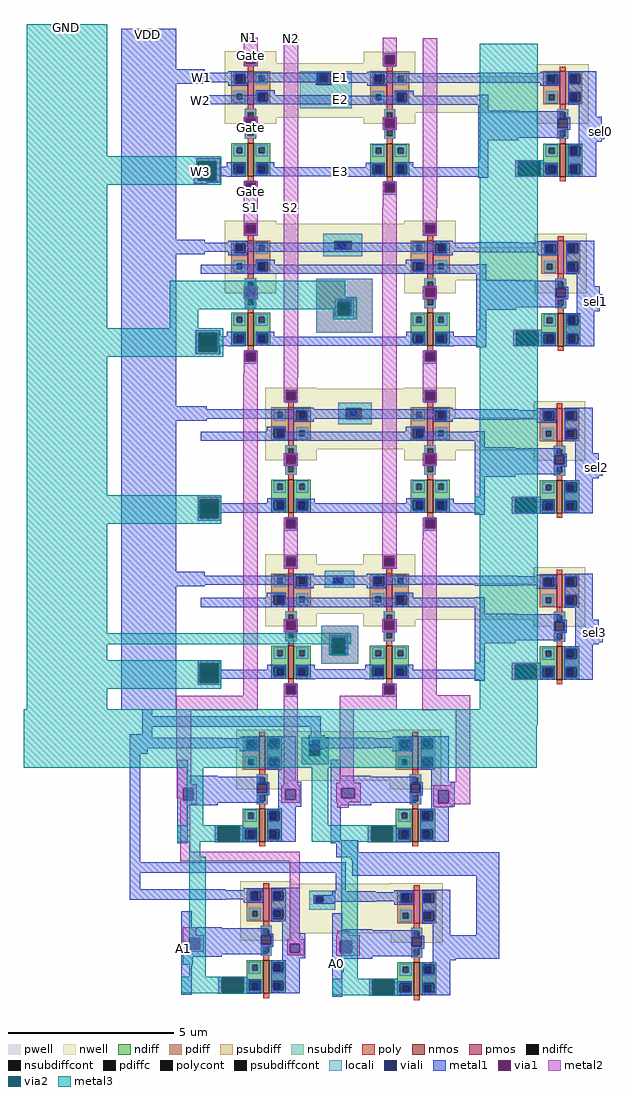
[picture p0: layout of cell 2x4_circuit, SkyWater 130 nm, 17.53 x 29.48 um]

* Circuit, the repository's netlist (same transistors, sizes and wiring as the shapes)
* SPICE3 file created from 2x4_circuit.ext - technology: sky130A

.subckt x1 E1 E2 E3 W3 N1 N2 w_106_301# SUB
X0 E1 N1 E2 w_106_301# sky130_fd_pr__pfet_01v8 ad=0p pd=0u as=0p ps=0u w=1e+06u l=180000u
X1 W3 N1 E3 SUB sky130_fd_pr__nfet_01v8 ad=0p pd=0u as=0p ps=0u w=1e+06u l=180000u
.ends

.subckt inv_customized VDD IN GND OUT SUB w_n16_301#
X0 OUT IN VDD w_n16_301# sky130_fd_pr__pfet_01v8 ad=0p pd=0u as=0p ps=0u w=1e+06u l=180000u
X1 OUT IN GND SUB sky130_fd_pr__nfet_01v8 ad=0p pd=0u as=0p ps=0u w=1e+06u l=180000u
.ends

.subckt x0_unit W1 W2 W3 E3 N2 N1 SUB w_n16_301#
X0 W2 N1 W1 w_n16_301# sky130_fd_pr__pfet_01v8 ad=0p pd=0u as=0p ps=0u w=1e+06u l=180000u
X1 E3 N1 W3 SUB sky130_fd_pr__nfet_01v8 ad=0p pd=0u as=0p ps=0u w=1e+06u l=180000u
.ends

*.subckt x2x4_circuit Gate
X1_0 W1 1_0/W3 1_0/E3 1_0/W3 1_1/N1 1_1/N2 W1 W3 x1
X1_1 W1 1_2/E2 1_2/W3 1_2/E2 1_1/N1 1_1/N2 W1 W3 x1
X1_2 W1 1_2/E2 W3 1_2/W3 S2 Gate W1 W3 x1
X1_3 W1 1_3/E2 W3 1_3/W3 S2 Gate W1 W3 x1
Xinv_customized_0 W1 W2 W3 sel0 W3 W1 inv_customized
X0_unit_0 W1 W2 E3 W2 1_1/N1 1_1/N2 W3 W1 x0_unit
Xinv_customized_1 W1 1_0/W3 W3 sel1 W3 W1 inv_customized
X0_unit_1 W1 1_0/W3 W3 1_0/E3 S2 Gate W3 W1 x0_unit
Xinv_customized_2 W1 1_2/E2 W3 sel2 W3 W1 inv_customized
Xinv_customized_3 W1 1_3/E2 W3 sel3 W3 W1 inv_customized
X0_unit_2 W1 1_3/E2 1_3/W3 1_3/E2 1_1/N1 1_1/N2 W3 W1 x0_unit
Xinv_customized_4 W1 1_1/N2 W3 1_1/N1 W3 W1 inv_customized
Xinv_customized_5 W1 Gate W3 S2 W3 W1 inv_customized
Xinv_customized_6 W1 A1 W3 Gate W3 W1 inv_customized
Xinv_customized_7 W1 A0 W3 1_1/N2 W3 W1 inv_customized
X0 W2 Gate W1 W1 sky130_fd_pr__pfet_01v8 ad=0p pd=0u as=0p ps=0u w=1e+06u l=180000u
X1 E3 Gate W3 W3 sky130_fd_pr__nfet_01v8 ad=0p pd=0u as=0p ps=0u w=1e+06u l=180000u
*C0 1_1/N2 W3 -3.24fF
*C1 S2 W3 -2.37fF
*C2 Gate W3 -4.38fF
*C3 W1 W3 -16.74fF
*C4 1_1/N1 W3 -2.77fF
*.ends

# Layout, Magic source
magic
tech sky130A
<< nwell >>
rect -16 483 140 519
rect -16 333 525 483
rect 552 334 942 444
rect -16 319 416 333
rect -16 301 140 319
rect 123 -152 537 -2
rect 671 -172 941 -73
rect 257 -532 586 -499
rect 245 -682 659 -532
rect 665 -686 935 -587
rect 137 -1087 551 -1030
rect 137 -1180 937 -1087
rect 547 -1197 937 -1180
rect 130 -1684 544 -1534
rect 146 -2145 560 -1995
<< pwell >>
rect 261 -331 431 -167
rect 275 -1330 387 -1216
<< nmos >>
rect 53 142 71 242
<< pmos >>
rect 53 360 71 460
<< ndiff >>
rect 3 229 53 242
rect 3 211 20 229
rect 37 211 53 229
rect 3 173 53 211
rect 3 155 20 173
rect 37 155 53 173
rect 3 142 53 155
rect 71 229 121 242
rect 71 211 87 229
rect 104 211 121 229
rect 71 173 121 211
rect 71 155 87 173
rect 104 155 121 173
rect 71 142 121 155
<< pdiff >>
rect 3 447 53 460
rect 3 429 20 447
rect 37 429 53 447
rect 3 391 53 429
rect 3 373 20 391
rect 37 373 53 391
rect 3 360 53 373
rect 71 447 121 460
rect 71 429 87 447
rect 104 429 121 447
rect 71 391 121 429
rect 71 373 87 391
rect 104 373 121 391
rect 71 360 121 373
<< ndiffc >>
rect 20 211 37 229
rect 20 155 37 173
rect 87 211 104 229
rect 87 155 104 173
<< pdiffc >>
rect 20 429 37 447
rect 20 373 37 391
rect 87 429 104 447
rect 87 373 104 391
<< psubdiff >>
rect 261 -233 431 -167
rect 261 -274 325 -233
rect 366 -274 431 -233
rect 261 -331 431 -274
rect 275 -1248 387 -1216
rect 275 -1305 306 -1248
rect 351 -1305 387 -1248
rect 275 -1330 387 -1305
<< nsubdiff >>
rect 211 455 367 459
rect 211 419 262 455
rect 305 419 367 455
rect 211 347 367 419
rect 281 -54 399 -32
rect 281 -80 315 -54
rect 367 -80 399 -54
rect 281 -99 399 -80
rect 326 -558 428 -542
rect 326 -592 349 -558
rect 397 -592 428 -558
rect 326 -607 428 -592
rect 286 -1070 375 -1050
rect 286 -1087 311 -1070
rect 342 -1087 375 -1070
rect 286 -1101 375 -1087
rect 217 -1573 298 -1552
rect 217 -1608 239 -1573
rect 273 -1608 298 -1573
rect 217 -1634 298 -1608
rect 239 -2034 317 -2016
rect 239 -2051 259 -2034
rect 282 -2051 317 -2034
rect 239 -2074 317 -2051
<< psubdiffcont >>
rect 325 -274 366 -233
rect 306 -1305 351 -1248
<< nsubdiffcont >>
rect 262 419 305 455
rect 315 -80 367 -54
rect 349 -592 397 -558
rect 311 -1087 342 -1070
rect 239 -1608 273 -1573
rect 259 -2051 282 -2034
<< poly >>
rect 45 502 79 510
rect 45 484 53 502
rect 71 484 79 502
rect 45 474 79 484
rect 53 460 71 474
rect 53 346 71 360
rect 45 336 79 346
rect 45 318 53 336
rect 71 318 79 336
rect 45 282 79 318
rect 45 264 53 282
rect 71 264 79 282
rect 45 256 79 264
rect 53 242 71 256
rect 53 128 71 142
rect 45 120 79 128
rect 45 102 53 120
rect 71 102 79 120
rect 45 94 79 102
<< polycont >>
rect 53 484 71 502
rect 53 318 71 336
rect 53 264 71 282
rect 53 102 71 120
<< locali >>
rect 45 509 79 510
rect 45 482 47 509
rect 77 482 79 509
rect 45 474 79 482
rect 10 450 46 456
rect 10 423 15 450
rect 10 420 46 423
rect 78 447 114 456
rect 78 429 87 447
rect 104 429 114 447
rect 78 420 114 429
rect 211 455 367 459
rect 211 419 262 455
rect 305 419 367 455
rect 10 391 46 400
rect 10 373 20 391
rect 37 373 46 391
rect 10 364 46 373
rect 78 395 114 400
rect 78 368 83 395
rect 78 364 114 368
rect 211 347 367 419
rect 45 336 79 346
rect 45 318 53 336
rect 71 318 79 336
rect 45 317 79 318
rect 45 290 47 317
rect 77 290 79 317
rect 45 282 79 290
rect 45 264 53 282
rect 71 264 79 282
rect 45 256 79 264
rect 10 229 46 238
rect 10 211 20 229
rect 37 211 46 229
rect 10 202 46 211
rect 78 229 114 238
rect 78 211 87 229
rect 104 211 114 229
rect 78 202 114 211
rect 10 178 46 182
rect 10 151 11 178
rect 42 151 46 178
rect 10 146 46 151
rect 78 178 114 182
rect 78 151 83 178
rect 78 146 114 151
rect 45 122 79 128
rect 45 95 47 122
rect 77 95 79 122
rect 45 94 79 95
rect 281 -54 399 -32
rect 281 -80 315 -54
rect 367 -80 399 -54
rect 281 -99 399 -80
rect 261 -233 431 -167
rect 261 -274 325 -233
rect 366 -274 431 -233
rect 261 -331 431 -274
rect 326 -558 428 -542
rect 326 -592 349 -558
rect 397 -592 428 -558
rect 326 -607 428 -592
rect 286 -1070 375 -1050
rect 286 -1087 311 -1070
rect 342 -1087 375 -1070
rect 286 -1101 375 -1087
rect 275 -1248 387 -1216
rect 275 -1305 306 -1248
rect 351 -1305 387 -1248
rect 275 -1330 387 -1305
rect 217 -1562 298 -1552
rect 217 -1573 248 -1562
rect 270 -1573 298 -1562
rect 217 -1608 239 -1573
rect 273 -1608 298 -1573
rect 217 -1634 298 -1608
rect 239 -2034 317 -2016
rect 239 -2051 259 -2034
rect 282 -2051 317 -2034
rect 239 -2074 317 -2051
<< viali >>
rect 47 502 77 509
rect 47 484 53 502
rect 53 484 71 502
rect 71 484 77 502
rect 47 482 77 484
rect 15 447 46 450
rect 15 429 20 447
rect 20 429 37 447
rect 37 429 46 447
rect 15 423 46 429
rect 269 428 294 449
rect 83 391 114 395
rect 83 373 87 391
rect 87 373 104 391
rect 104 373 114 391
rect 83 368 114 373
rect 47 290 77 317
rect 11 173 42 178
rect 11 155 20 173
rect 20 155 37 173
rect 37 155 42 173
rect 11 151 42 155
rect 83 173 114 178
rect 83 155 87 173
rect 87 155 104 173
rect 104 155 114 173
rect 83 151 114 155
rect 47 120 77 122
rect 47 102 53 120
rect 53 102 71 120
rect 71 102 77 120
rect 47 95 77 102
rect 323 -78 351 -61
rect 333 -266 354 -245
rect 361 -583 383 -566
rect 311 -1087 342 -1070
rect 318 -1286 336 -1266
rect 248 -1573 270 -1562
rect 248 -1581 270 -1573
rect 259 -2051 282 -2034
<< metal1 >>
rect -328 465 -163 587
rect 41 509 84 514
rect 41 482 47 509
rect 77 482 84 509
rect 41 475 84 482
rect -328 454 -77 465
rect -6 454 51 459
rect -328 450 334 454
rect -328 426 15 450
rect -328 422 -77 426
rect -6 423 15 426
rect 46 449 334 450
rect 46 428 269 449
rect 294 428 334 449
rect 46 426 334 428
rect 46 423 51 426
rect -328 -50 -163 422
rect -6 416 51 423
rect 259 419 306 426
rect 78 395 135 402
rect 78 387 83 395
rect -89 368 83 387
rect 114 387 135 395
rect 114 368 335 387
rect -89 359 335 368
rect 41 317 84 322
rect 41 290 47 317
rect 77 290 84 317
rect 41 283 84 290
rect 1111 254 1130 298
rect -102 188 -30 195
rect -102 164 -98 188
rect -109 130 -98 164
rect -41 171 -30 188
rect -10 178 47 184
rect -10 171 11 178
rect -41 151 11 171
rect 42 151 47 178
rect -41 142 47 151
rect 77 178 134 185
rect 77 151 83 178
rect 114 170 134 178
rect 114 151 334 170
rect 77 142 334 151
rect -41 130 -30 142
rect -10 141 47 142
rect -109 123 -30 130
rect -109 119 -69 123
rect 41 122 84 127
rect 41 95 47 122
rect 77 95 84 122
rect 41 88 84 95
rect -328 -93 -77 -50
rect -328 -553 -163 -93
rect 325 -239 366 -233
rect 325 -271 326 -239
rect 362 -271 366 -239
rect 1096 -253 1126 -214
rect 325 -274 366 -271
rect -102 -330 -30 -323
rect -102 -388 -95 -330
rect -38 -388 -30 -330
rect -102 -395 -30 -388
rect -328 -596 -70 -553
rect -328 -1053 -163 -596
rect 1096 -762 1126 -723
rect -98 -833 -26 -826
rect -98 -891 -91 -833
rect -34 -891 -26 -833
rect -98 -898 -26 -891
rect -328 -1096 -77 -1053
rect -328 -1469 -163 -1096
rect 300 -1262 357 -1244
rect 300 -1293 312 -1262
rect 346 -1293 357 -1262
rect 1096 -1265 1126 -1226
rect 300 -1305 357 -1293
rect -98 -1329 -26 -1322
rect -98 -1387 -91 -1329
rect -34 -1387 -26 -1329
rect -98 -1394 -26 -1387
rect -266 -1489 -235 -1469
rect -266 -1520 274 -1489
rect -266 -1544 -235 -1520
rect -303 -1554 -235 -1544
rect 243 -1547 274 -1520
rect 237 -1554 286 -1547
rect -303 -1585 -116 -1554
rect 237 -1562 357 -1554
rect 237 -1581 248 -1562
rect 270 -1581 357 -1562
rect 237 -1585 357 -1581
rect -303 -1602 -248 -1585
rect 237 -1588 286 -1585
rect -303 -1930 -272 -1602
rect 321 -1900 387 -1863
rect 321 -1915 813 -1900
rect 366 -1922 813 -1915
rect -303 -1961 350 -1930
rect -303 -2012 -272 -1961
rect -303 -2043 -113 -2012
rect 253 -2034 314 -2029
rect 253 -2051 259 -2034
rect 282 -2051 314 -2034
rect 319 -2048 350 -1961
rect 369 -1970 813 -1922
rect 253 -2056 314 -2051
rect 743 -2151 813 -1970
rect -142 -2180 -131 -2175
rect -149 -2189 -131 -2180
rect -149 -2199 -135 -2189
rect -143 -2239 -113 -2200
rect 612 -2221 813 -2151
rect 314 -2261 344 -2222
<< via1 >>
rect 47 482 77 509
rect 47 290 77 317
rect -98 130 -41 188
rect 47 95 77 122
rect 326 -245 362 -239
rect 326 -266 333 -245
rect 333 -266 354 -245
rect 354 -266 362 -245
rect 326 -271 362 -266
rect -95 -388 -38 -330
rect -91 -891 -34 -833
rect 312 -1266 346 -1262
rect 312 -1286 318 -1266
rect 318 -1286 336 -1266
rect 336 -1286 346 -1266
rect 312 -1293 346 -1286
rect -91 -1387 -34 -1329
rect -142 -1743 -111 -1707
rect 166 -1741 198 -1710
rect 336 -1736 376 -1706
rect 629 -1751 660 -1712
rect -123 -2192 -91 -2160
rect 181 -2204 210 -2176
rect 332 -2203 367 -2167
<< metal2 >>
rect 41 509 84 561
rect 41 482 47 509
rect 77 482 84 509
rect 41 475 84 482
rect 41 317 84 322
rect 41 290 47 317
rect 77 290 84 317
rect 41 283 84 290
rect -102 188 -30 198
rect -102 164 -98 188
rect -109 130 -98 164
rect -41 130 -30 188
rect -109 126 -30 130
rect -109 119 -69 126
rect 41 122 84 127
rect 41 95 47 122
rect 77 95 84 122
rect 41 48 84 95
rect 162 47 206 560
rect 316 -239 373 -228
rect 316 -276 325 -239
rect 362 -276 373 -239
rect 316 -281 373 -276
rect -105 -330 -33 -323
rect -105 -388 -95 -330
rect -38 -388 -33 -330
rect -105 -395 -33 -388
rect -98 -833 -26 -826
rect -98 -891 -91 -833
rect -34 -891 -26 -833
rect -98 -898 -26 -891
rect 300 -1254 357 -1244
rect 300 -1300 310 -1254
rect 346 -1300 357 -1254
rect 300 -1305 357 -1300
rect -98 -1329 -26 -1322
rect -98 -1387 -91 -1329
rect -34 -1387 -26 -1329
rect -98 -1394 -26 -1387
rect -162 -1471 84 -1427
rect -162 -1627 -118 -1471
rect -161 -1694 -118 -1627
rect -161 -1707 -100 -1694
rect 162 -1699 205 -1427
rect 331 -1470 503 -1427
rect 581 -1470 725 -1426
rect 331 -1690 374 -1470
rect 681 -1689 725 -1470
rect -161 -1736 -142 -1707
rect -150 -1743 -142 -1736
rect -111 -1743 -100 -1707
rect -150 -1750 -100 -1743
rect 154 -1710 210 -1699
rect 154 -1741 166 -1710
rect 198 -1741 210 -1710
rect 154 -1750 210 -1741
rect 320 -1706 394 -1690
rect 667 -1698 725 -1689
rect 320 -1736 336 -1706
rect 376 -1736 394 -1706
rect 320 -1748 394 -1736
rect 614 -1712 725 -1698
rect -150 -1754 -102 -1750
rect -150 -1898 -121 -1754
rect 324 -1765 359 -1748
rect 614 -1751 629 -1712
rect 660 -1751 725 -1712
rect 614 -1754 725 -1751
rect 614 -1764 672 -1754
rect -150 -1927 210 -1898
rect -143 -2151 -102 -2126
rect -143 -2160 -80 -2151
rect -143 -2172 -123 -2160
rect -133 -2192 -123 -2172
rect -91 -2192 -80 -2160
rect 181 -2162 210 -1927
rect 324 -2151 359 -2137
rect -133 -2201 -80 -2192
rect 172 -2176 224 -2162
rect 172 -2204 181 -2176
rect 210 -2204 224 -2176
rect 172 -2211 224 -2204
rect 320 -2167 391 -2151
rect 320 -2203 332 -2167
rect 367 -2203 391 -2167
rect 320 -2212 391 -2203
<< via2 >>
rect -98 130 -41 188
rect 325 -271 326 -239
rect 326 -271 362 -239
rect 325 -276 362 -271
rect -95 -388 -38 -330
rect -91 -891 -34 -833
rect 310 -1262 346 -1254
rect 310 -1293 312 -1262
rect 312 -1293 346 -1262
rect 310 -1300 346 -1293
rect -91 -1387 -34 -1329
<< metal3 >>
rect -614 203 -371 602
rect -614 188 -27 203
rect -614 130 -98 188
rect -41 130 -27 188
rect -614 117 -27 130
rect -614 -317 -371 117
rect -182 -223 348 -173
rect -182 -239 382 -223
rect -182 -259 325 -239
rect -182 -317 -96 -259
rect 312 -276 325 -259
rect 362 -276 382 -239
rect 312 -290 382 -276
rect -614 -330 -20 -317
rect -614 -388 -95 -330
rect -38 -388 -20 -330
rect -614 -403 -20 -388
rect -614 -822 -371 -403
rect -614 -826 -27 -822
rect -614 -833 -26 -826
rect -614 -891 -91 -833
rect -34 -891 -26 -833
rect -614 -898 -26 -891
rect -614 -908 -27 -898
rect -614 -1238 -371 -908
rect -614 -1254 365 -1238
rect -614 -1272 310 -1254
rect -614 -1320 -371 -1272
rect 300 -1300 310 -1272
rect 346 -1272 365 -1254
rect 346 -1300 357 -1272
rect 300 -1305 357 -1300
rect -614 -1322 -27 -1320
rect -614 -1329 -26 -1322
rect -614 -1387 -91 -1329
rect -34 -1387 -26 -1329
rect -614 -1394 -26 -1387
rect -614 -1406 -27 -1394
rect -614 -1468 -371 -1406
rect 754 -1468 929 542
rect -623 -1516 929 -1468
rect -623 -1644 926 -1516
rect -131 -1820 -81 -1644
rect 247 -1818 297 -1644
rect -131 -1861 -73 -1820
rect -131 -1868 -90 -1861
rect 247 -1868 402 -1818
rect -123 -1914 -90 -1868
rect -123 -2200 -73 -1914
rect -143 -2239 -73 -2200
rect -123 -2326 -73 -2239
rect 336 -2332 386 -1868
use inv_customized  inv_customized_4
transform 1 0 498 0 1 -2010
box -194 128 180 481
use inv_customized  inv_customized_5
transform 1 0 35 0 1 -2010
box -194 128 180 481
use inv_customized  inv_customized_6
transform 1 0 47 0 1 -2468
box -194 128 180 481
use inv_customized  inv_customized_7
transform 1 0 502 0 1 -2474
box -194 128 180 481
use 1  1_3
transform 1 0 0 0 1 -1518
box -89 47 335 561
use 0_unit  0_unit_2
transform 1 0 419 0 1 -1518
box -89 47 335 561
use inv_customized  inv_customized_3
transform 1 0 933 0 1 -1520
box -194 128 180 481
use 1  1_2
transform 1 0 0 0 1 -1016
box -89 47 335 561
use 1  1_1
transform 1 0 420 0 1 -1016
box -89 47 335 561
use inv_customized  inv_customized_2
transform 1 0 933 0 1 -1018
box -194 128 180 481
use 1  1_0
transform 1 0 420 0 1 -512
box -89 47 335 561
use 0_unit  0_unit_1
transform 1 0 0 0 1 -512
box -89 47 335 561
use inv_customized  inv_customized_1
transform 1 0 937 0 1 -513
box -194 128 180 481
use 0_unit  0_unit_0
transform 1 0 420 0 1 -1
box -89 47 335 561
use inv_customized  inv_customized_0
transform 1 0 943 0 1 -1
box -194 128 180 481
<< labels >>
rlabel locali 62 290 62 290 5 Gate
port 1 n
rlabel viali 62 508 62 508 1 Gate
port 1 n
rlabel viali 62 313 62 313 1 Gate
port 2 n
rlabel metal2 60 560 60 560 1 N1
rlabel metal2 185 559 185 559 1 N2
rlabel metal1 -87 440 -87 440 7 W1
rlabel metal1 -88 371 -88 371 7 W2
rlabel via1 -88 156 -88 156 7 W3
rlabel metal1 333 440 333 440 3 E1
rlabel metal1 334 373 334 373 3 E2
rlabel metal1 333 157 333 157 3 E3
rlabel metal2 183 48 183 48 5 S2
rlabel metal2 61 49 61 49 5 S1
rlabel locali 63 95 63 95 1 Gate
port 2 s
rlabel metal3 -493 592 -493 592 1 GND
rlabel metal1 -248 570 -248 570 1 VDD
rlabel metal1 321 -2236 321 -2236 1 A0
rlabel metal1 1101 -1235 1101 -1235 1 sel3
rlabel metal1 1108 -738 1108 -738 1 sel2
rlabel metal1 1105 -236 1105 -236 1 sel1
rlabel metal1 1120 276 1120 276 7 sel0
rlabel metal1 -140 -2190 -140 -2190 1 A1
<< end >>

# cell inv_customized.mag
magic
tech sky130A
<< nwell >>
rect -16 301 140 481
<< nmos >>
rect 53 142 71 242
<< pmos >>
rect 53 360 71 460
<< ndiff >>
rect 3 229 53 242
rect 3 211 20 229
rect 37 211 53 229
rect 3 173 53 211
rect 3 155 20 173
rect 37 155 53 173
rect 3 142 53 155
rect 71 229 121 242
rect 71 211 87 229
rect 104 211 121 229
rect 71 173 121 211
rect 71 155 87 173
rect 104 155 121 173
rect 71 142 121 155
<< pdiff >>
rect 3 447 53 460
rect 3 429 20 447
rect 37 429 53 447
rect 3 391 53 429
rect 3 373 20 391
rect 37 373 53 391
rect 3 360 53 373
rect 71 447 121 460
rect 71 429 87 447
rect 104 429 121 447
rect 71 391 121 429
rect 71 373 87 391
rect 104 373 121 391
rect 71 360 121 373
<< ndiffc >>
rect 20 211 37 229
rect 20 155 37 173
rect 87 211 104 229
rect 87 155 104 173
<< pdiffc >>
rect 20 429 37 447
rect 20 373 37 391
rect 87 429 104 447
rect 87 373 104 391
<< poly >>
rect 53 460 71 474
rect 53 346 71 360
rect 45 336 79 346
rect 45 318 53 336
rect 71 318 79 336
rect 45 282 79 318
rect 45 264 53 282
rect 71 264 79 282
rect 45 256 79 264
rect 53 242 71 256
rect 53 128 71 142
<< polycont >>
rect 53 318 71 336
rect 53 264 71 282
<< locali >>
rect 10 450 46 456
rect 10 423 15 450
rect 10 420 46 423
rect 78 451 114 456
rect 78 424 83 451
rect 78 420 114 424
rect 10 391 46 400
rect 10 373 20 391
rect 37 373 46 391
rect 10 364 46 373
rect 78 395 114 400
rect 78 368 83 395
rect 78 364 114 368
rect 45 336 79 346
rect 45 318 53 336
rect 71 318 79 336
rect 45 317 79 318
rect 45 290 47 317
rect 77 290 79 317
rect 45 282 79 290
rect 45 264 53 282
rect 71 264 79 282
rect 45 256 79 264
rect 10 229 46 238
rect 10 211 20 229
rect 37 211 46 229
rect 10 202 46 211
rect 78 234 114 238
rect 78 207 83 234
rect 78 202 114 207
rect 10 178 46 182
rect 10 151 11 178
rect 42 151 46 178
rect 10 146 46 151
rect 78 178 114 182
rect 78 151 83 178
rect 78 146 114 151
<< viali >>
rect 15 447 46 450
rect 15 429 20 447
rect 20 429 37 447
rect 37 429 46 447
rect 15 423 46 429
rect 83 447 114 451
rect 83 429 87 447
rect 87 429 104 447
rect 104 429 114 447
rect 83 424 114 429
rect 83 391 114 395
rect 83 373 87 391
rect 87 373 104 391
rect 104 373 114 391
rect 83 368 114 373
rect 47 290 77 317
rect 83 229 114 234
rect 83 211 87 229
rect 87 211 104 229
rect 104 211 114 229
rect 83 207 114 211
rect 11 173 42 178
rect 11 155 20 173
rect 20 155 37 173
rect 37 155 42 173
rect 11 151 42 155
rect 83 173 114 178
rect 83 155 87 173
rect 87 155 104 173
rect 104 155 114 173
rect 83 151 114 155
<< metal1 >>
rect -194 454 -62 456
rect -6 454 51 459
rect -194 450 52 454
rect -194 426 15 450
rect -194 425 -62 426
rect -6 423 15 426
rect 46 426 52 450
rect 78 451 163 461
rect 46 423 51 426
rect -6 416 51 423
rect 78 424 83 451
rect 114 424 163 451
rect 78 395 163 424
rect -194 341 -163 390
rect 78 368 83 395
rect 114 368 163 395
rect 78 359 163 368
rect -194 339 -72 341
rect -194 322 65 339
rect 110 323 163 359
rect -194 317 84 322
rect -194 290 47 317
rect 77 290 84 317
rect -194 283 84 290
rect -194 260 65 283
rect -194 252 -72 260
rect -194 138 -163 252
rect 110 248 180 323
rect 110 242 163 248
rect 77 234 163 242
rect 77 207 83 234
rect 114 207 163 234
rect -82 187 5 192
rect -82 145 -72 187
rect -6 184 5 187
rect -6 178 47 184
rect -6 151 11 178
rect 42 151 47 178
rect -6 145 47 151
rect -82 141 47 145
rect 77 178 163 207
rect 77 151 83 178
rect 114 151 163 178
rect 77 142 163 151
<< via1 >>
rect -72 145 -6 187
<< metal2 >>
rect -82 187 5 192
rect -82 145 -72 187
rect -6 145 5 187
rect -82 141 5 145
<< via2 >>
rect -72 145 -6 187
<< metal3 >>
rect -194 187 5 192
rect -194 145 -72 187
rect -6 145 5 187
rect -194 142 5 145
rect -82 141 5 142
<< labels >>
rlabel metal1 -81 437 -81 437 7 VDD
port 1 w
rlabel metal1 -81 298 -81 298 7 IN
port 2 w
rlabel metal1 180 284 180 284 3 OUT
port 4 e
rlabel metal1 -81 156 -81 156 7 GND
port 3 w
<< end >>

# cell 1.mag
magic
tech sky130A
<< nwell >>
rect 106 301 262 519
<< nmos >>
rect 175 142 193 242
<< pmos >>
rect 175 360 193 460
<< ndiff >>
rect 125 229 175 242
rect 125 211 142 229
rect 159 211 175 229
rect 125 173 175 211
rect 125 155 142 173
rect 159 155 175 173
rect 125 142 175 155
rect 193 229 243 242
rect 193 211 209 229
rect 226 211 243 229
rect 193 173 243 211
rect 193 155 209 173
rect 226 155 243 173
rect 193 142 243 155
<< pdiff >>
rect 125 447 175 460
rect 125 429 142 447
rect 159 429 175 447
rect 125 391 175 429
rect 125 373 142 391
rect 159 373 175 391
rect 125 360 175 373
rect 193 447 243 460
rect 193 429 209 447
rect 226 429 243 447
rect 193 391 243 429
rect 193 373 209 391
rect 226 373 243 391
rect 193 360 243 373
<< ndiffc >>
rect 142 211 159 229
rect 142 155 159 173
rect 209 211 226 229
rect 209 155 226 173
<< pdiffc >>
rect 142 429 159 447
rect 142 373 159 391
rect 209 429 226 447
rect 209 373 226 391
<< poly >>
rect 167 502 201 510
rect 167 484 175 502
rect 193 484 201 502
rect 167 474 201 484
rect 175 460 193 474
rect 175 346 193 360
rect 167 336 201 346
rect 167 318 175 336
rect 193 318 201 336
rect 167 282 201 318
rect 167 264 175 282
rect 193 264 201 282
rect 167 256 201 264
rect 175 242 193 256
rect 175 128 193 142
rect 167 120 201 128
rect 167 102 175 120
rect 193 102 201 120
rect 167 94 201 102
<< polycont >>
rect 175 484 193 502
rect 175 318 193 336
rect 175 264 193 282
rect 175 102 193 120
<< locali >>
rect 167 509 201 510
rect 167 482 169 509
rect 199 482 201 509
rect 167 474 201 482
rect 132 447 168 456
rect 132 429 142 447
rect 159 429 168 447
rect 132 420 168 429
rect 200 450 236 456
rect 231 423 236 450
rect 200 420 236 423
rect 132 395 168 400
rect 163 368 168 395
rect 132 364 168 368
rect 200 391 236 400
rect 200 373 209 391
rect 226 373 236 391
rect 200 364 236 373
rect 167 336 201 346
rect 167 318 175 336
rect 193 318 201 336
rect 167 317 201 318
rect 167 290 169 317
rect 199 290 201 317
rect 167 282 201 290
rect 167 264 175 282
rect 193 264 201 282
rect 167 256 201 264
rect 132 229 168 238
rect 132 211 142 229
rect 159 211 168 229
rect 132 202 168 211
rect 200 229 236 238
rect 200 211 209 229
rect 226 211 236 229
rect 200 202 236 211
rect 132 178 168 182
rect 163 151 168 178
rect 132 146 168 151
rect 200 178 236 182
rect 200 151 204 178
rect 235 151 236 178
rect 200 146 236 151
rect 167 122 201 128
rect 167 95 169 122
rect 199 95 201 122
rect 167 94 201 95
<< viali >>
rect 169 502 199 509
rect 169 484 175 502
rect 175 484 193 502
rect 193 484 199 502
rect 169 482 199 484
rect 200 447 231 450
rect 200 429 209 447
rect 209 429 226 447
rect 226 429 231 447
rect 200 423 231 429
rect 132 391 163 395
rect 132 373 142 391
rect 142 373 159 391
rect 159 373 163 391
rect 132 368 163 373
rect 169 290 199 317
rect 132 173 163 178
rect 132 155 142 173
rect 142 155 159 173
rect 159 155 163 173
rect 132 151 163 155
rect 204 173 235 178
rect 204 155 209 173
rect 209 155 226 173
rect 226 155 235 173
rect 204 151 235 155
rect 169 120 199 122
rect 169 102 175 120
rect 175 102 193 120
rect 193 102 199 120
rect 169 95 199 102
<< metal1 >>
rect 162 509 205 514
rect 162 482 169 509
rect 199 482 205 509
rect 162 475 205 482
rect 195 454 252 459
rect -88 450 334 454
rect -88 426 200 450
rect 195 423 200 426
rect 231 426 334 450
rect 231 423 252 426
rect 195 416 252 423
rect 111 395 168 402
rect 111 387 132 395
rect -89 368 132 387
rect 163 387 168 395
rect 163 368 335 387
rect -89 359 335 368
rect 162 317 205 322
rect 162 290 169 317
rect 199 290 205 317
rect 162 283 205 290
rect 112 178 169 185
rect 112 170 132 178
rect -88 151 132 170
rect 163 151 169 178
rect -88 142 169 151
rect 199 178 256 184
rect 199 151 204 178
rect 235 171 256 178
rect 235 151 335 171
rect 199 142 335 151
rect 199 141 256 142
rect 162 122 205 127
rect 162 95 169 122
rect 199 95 205 122
rect 162 88 205 95
<< via1 >>
rect 169 482 199 509
rect 169 290 199 317
rect 169 95 199 122
<< metal2 >>
rect 40 47 84 560
rect 162 509 205 561
rect 162 482 169 509
rect 199 482 205 509
rect 162 475 205 482
rect 162 317 205 322
rect 162 290 169 317
rect 199 290 205 317
rect 162 283 205 290
rect 162 122 205 127
rect 162 95 169 122
rect 199 95 205 122
rect 162 48 205 95
<< labels >>
rlabel metal2 186 560 186 560 1 N1
port 9 n
rlabel metal2 61 559 61 559 1 N2
port 10 n
rlabel metal1 334 156 334 156 3 W3
port 6 e
rlabel metal1 -87 440 -87 440 7 E1
port 1 w
rlabel metal1 -88 373 -88 373 7 E2
port 2 w
rlabel metal1 -87 157 -87 157 7 E3
port 3 w
<< end >>

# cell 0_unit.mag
magic
tech sky130A
<< nwell >>
rect -16 301 140 519
<< nmos >>
rect 53 142 71 242
<< pmos >>
rect 53 360 71 460
<< ndiff >>
rect 3 229 53 242
rect 3 211 20 229
rect 37 211 53 229
rect 3 173 53 211
rect 3 155 20 173
rect 37 155 53 173
rect 3 142 53 155
rect 71 229 121 242
rect 71 211 87 229
rect 104 211 121 229
rect 71 173 121 211
rect 71 155 87 173
rect 104 155 121 173
rect 71 142 121 155
<< pdiff >>
rect 3 447 53 460
rect 3 429 20 447
rect 37 429 53 447
rect 3 391 53 429
rect 3 373 20 391
rect 37 373 53 391
rect 3 360 53 373
rect 71 447 121 460
rect 71 429 87 447
rect 104 429 121 447
rect 71 391 121 429
rect 71 373 87 391
rect 104 373 121 391
rect 71 360 121 373
<< ndiffc >>
rect 20 211 37 229
rect 20 155 37 173
rect 87 211 104 229
rect 87 155 104 173
<< pdiffc >>
rect 20 429 37 447
rect 20 373 37 391
rect 87 429 104 447
rect 87 373 104 391
<< poly >>
rect 45 502 79 510
rect 45 484 53 502
rect 71 484 79 502
rect 45 474 79 484
rect 53 460 71 474
rect 53 346 71 360
rect 45 336 79 346
rect 45 318 53 336
rect 71 318 79 336
rect 45 282 79 318
rect 45 264 53 282
rect 71 264 79 282
rect 45 256 79 264
rect 53 242 71 256
rect 53 128 71 142
rect 45 120 79 128
rect 45 102 53 120
rect 71 102 79 120
rect 45 94 79 102
<< polycont >>
rect 53 484 71 502
rect 53 318 71 336
rect 53 264 71 282
rect 53 102 71 120
<< locali >>
rect 45 509 79 510
rect 45 482 47 509
rect 77 482 79 509
rect 45 474 79 482
rect 10 450 46 456
rect 10 423 15 450
rect 10 420 46 423
rect 78 447 114 456
rect 78 429 87 447
rect 104 429 114 447
rect 78 420 114 429
rect 10 391 46 400
rect 10 373 20 391
rect 37 373 46 391
rect 10 364 46 373
rect 78 395 114 400
rect 78 368 83 395
rect 78 364 114 368
rect 45 336 79 346
rect 45 318 53 336
rect 71 318 79 336
rect 45 317 79 318
rect 45 290 47 317
rect 77 290 79 317
rect 45 282 79 290
rect 45 264 53 282
rect 71 264 79 282
rect 45 256 79 264
rect 10 229 46 238
rect 10 211 20 229
rect 37 211 46 229
rect 10 202 46 211
rect 78 229 114 238
rect 78 211 87 229
rect 104 211 114 229
rect 78 202 114 211
rect 10 178 46 182
rect 10 151 11 178
rect 42 151 46 178
rect 10 146 46 151
rect 78 178 114 182
rect 78 151 83 178
rect 78 146 114 151
rect 45 122 79 128
rect 45 95 47 122
rect 77 95 79 122
rect 45 94 79 95
<< viali >>
rect 47 502 77 509
rect 47 484 53 502
rect 53 484 71 502
rect 71 484 77 502
rect 47 482 77 484
rect 15 447 46 450
rect 15 429 20 447
rect 20 429 37 447
rect 37 429 46 447
rect 15 423 46 429
rect 83 391 114 395
rect 83 373 87 391
rect 87 373 104 391
rect 104 373 114 391
rect 83 368 114 373
rect 47 290 77 317
rect 11 173 42 178
rect 11 155 20 173
rect 20 155 37 173
rect 37 155 42 173
rect 11 151 42 155
rect 83 173 114 178
rect 83 155 87 173
rect 87 155 104 173
rect 104 155 114 173
rect 83 151 114 155
rect 47 120 77 122
rect 47 102 53 120
rect 53 102 71 120
rect 71 102 77 120
rect 47 95 77 102
<< metal1 >>
rect 41 509 84 514
rect 41 482 47 509
rect 77 482 84 509
rect 41 475 84 482
rect -6 454 51 459
rect -88 450 334 454
rect -88 426 15 450
rect -6 423 15 426
rect 46 426 334 450
rect 46 423 51 426
rect -6 416 51 423
rect 78 395 135 402
rect 78 387 83 395
rect -89 368 83 387
rect 114 387 135 395
rect 114 368 335 387
rect -89 359 335 368
rect 41 317 84 322
rect 41 290 47 317
rect 77 290 84 317
rect 41 283 84 290
rect -10 178 47 184
rect -10 171 11 178
rect -89 151 11 171
rect 42 151 47 178
rect -89 142 47 151
rect 77 178 134 185
rect 77 151 83 178
rect 114 170 134 178
rect 114 151 334 170
rect 77 142 334 151
rect -10 141 47 142
rect 41 122 84 127
rect 41 95 47 122
rect 77 95 84 122
rect 41 88 84 95
<< via1 >>
rect 47 482 77 509
rect 47 290 77 317
rect 47 95 77 122
<< metal2 >>
rect 41 509 84 561
rect 41 482 47 509
rect 77 482 84 509
rect 41 475 84 482
rect 41 317 84 322
rect 41 290 47 317
rect 77 290 84 317
rect 41 283 84 290
rect 41 122 84 127
rect 41 95 47 122
rect 77 95 84 122
rect 41 48 84 95
rect 162 47 206 560
<< labels >>
rlabel metal2 60 560 60 560 1 N1
port 10 n
rlabel metal2 185 559 185 559 1 N2
port 9 n
rlabel metal1 -87 440 -87 440 7 W1
port 1 w
rlabel metal1 -88 371 -88 371 7 W2
port 2 w
rlabel metal1 -88 156 -88 156 7 W3
port 3 w
rlabel metal1 333 157 333 157 3 E3
port 6 e
<< end >>
